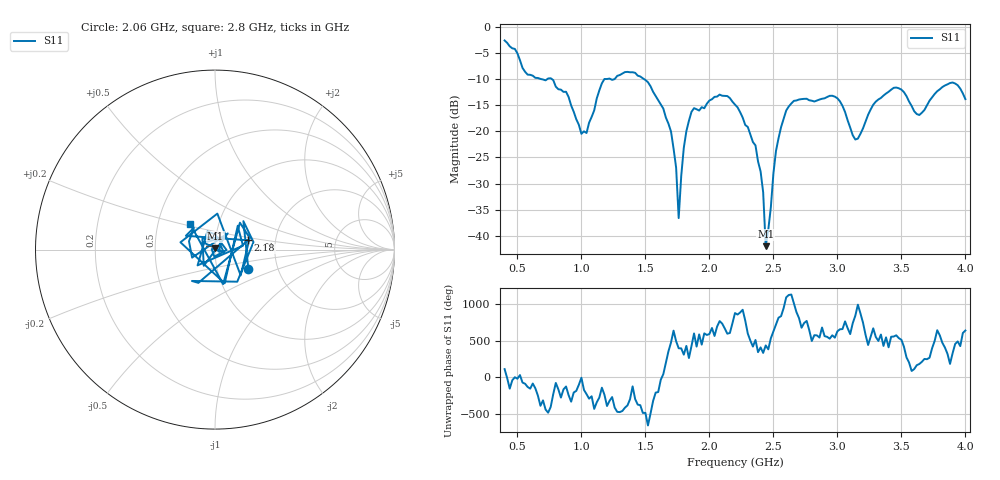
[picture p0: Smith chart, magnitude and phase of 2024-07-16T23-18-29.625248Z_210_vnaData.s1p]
!Created with skrf (http://scikit-rf.org).
# Hz S RI R 50.0
!freq ReS11 ImS11
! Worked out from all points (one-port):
!   181 points, 400 MHz to 4 GHz, reference 50 ohm
!   lowest |S11| = -42.0 dB at 2.44 GHz (marker M1), VSWR 1.02, Z = 50.2 + j0.769 ohm
!   |S11| at or under -10 dB: 680.5 MHz to 735.3 MHz (54.79 MHz wide, 7.74 % of centre); 767.5 MHz to 1.203 GHz (435.6 MHz wide, 44.2 % of centre); 1.487 GHz to end of sweep (the widest 3 of 4)
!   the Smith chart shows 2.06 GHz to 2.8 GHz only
!   S11 on the Smith chart (normalised r, x): 2.06 GHz: 1.41, -0.32; 2.18 GHz: 1.44, +0.15; 2.8 GHz: 0.73, +0.21
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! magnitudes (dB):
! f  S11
! 400 MHz  -2.6
! 860 MHz  -12.5
! 1.04 GHz  -20.3
! 1.16 GHz  -10.8
! 1.3 GHz  -9.3
! 1.64 GHz  -15.7
! 1.72 GHz  -23.3
! 1.74 GHz  -27.0
! 1.76 GHz  -36.6
! 1.8 GHz  -23.2
! 1.86 GHz  -16.3
! 2.06 GHz  -13.4
! 2.18 GHz  -14.3
! 2.2 GHz  -14.9
! 2.36 GHz  -22.7
! 2.42 GHz  -31.7
! 2.44 GHz  -42.0
! 2.52 GHz  -23.8
! 2.66 GHz  -14.2
! 2.8 GHz  -14.2
! 3 GHz  -13.7
! 3.1 GHz  -19.3
! 3.16 GHz  -21.4
! 3.44 GHz  -11.7
! 3.56 GHz  -14.3
! 3.64 GHz  -16.9
! 3.9 GHz  -10.7
! 4 GHz  -13.9
